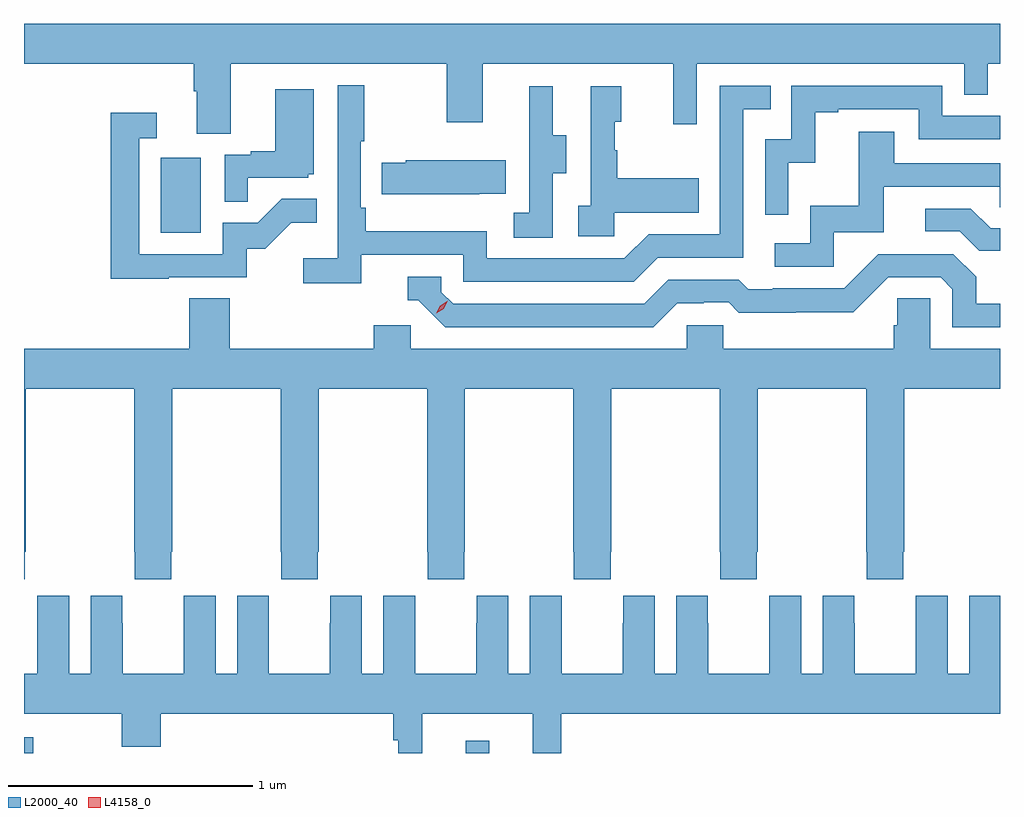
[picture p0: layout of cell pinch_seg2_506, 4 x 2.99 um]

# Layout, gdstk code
import gdstk
lib = gdstk.Library(unit=1e-6, precision=1e-09)
def R(c, l, rs):  # rectangles x0, y0, x1, y1
    for r in rs: c.add(gdstk.rectangle(r[:2], r[2:], *l))
def P(c, l, *ps):  # polygons
    for p in ps: c.add(gdstk.Polygon(p, *l))
L2000_40 = (2000, 40)
L4158_0 = (4158, 0)

pinch_seg2_506 = lib.new_cell('pinch_seg2_506')
R(pinch_seg2_506, L2000_40, [(993.707,592.864,993.745,592.929), (995.517,592.864,995.614,592.915), (994.268,594.996,994.432,595.303)])
P(pinch_seg2_506, L2000_40, [(994.555,595.688),(995.44,595.688),(995.44,595.449),(995.587,595.449),(995.587,595.688),(996.368,595.688),(996.368,595.44),(996.465,595.44),(996.465,595.688),(997.56,595.688),(997.56,595.561),(997.656,595.561),(997.656,595.688),(997.707,595.688),(997.707,595.852),(993.707,595.852),(993.707,595.688),(994.403,595.688),(994.403,595.576),(994.415,595.576),(994.415,595.402),(994.555,595.402)],
  [(995.09,594.906),(995.508,594.906),(995.508,594.795),(996.205,594.795),(996.304,594.894),(996.654,594.894),(996.654,595.503),(996.767,595.503),(996.767,595.599),(996.558,595.599),(996.558,594.99),(996.267,594.99),(996.168,594.891),(995.604,594.891),(995.604,595.003),(995.108,595.003),(995.108,595.099),(995.088,595.099),(995.088,595.372),(995.101,595.372),(995.101,595.6),(994.992,595.6),(994.992,594.892),(994.851,594.892),(994.851,594.79),(995.09,594.79)],
  [(996.84,595.283),(996.95,595.283),(996.95,595.491),(997.045,595.491),(997.045,595.503),(997.374,595.503),(997.374,595.38),(997.707,595.38),(997.707,595.476),(997.47,595.476),(997.47,595.599),(996.852,595.599),(996.852,595.38),(996.744,595.38),(996.744,595.071),(996.84,595.071)],
  [(995.874,595.24),(995.929,595.24),(995.929,595.395),(995.875,595.395),(995.875,595.597),(995.777,595.597),(995.777,595.383),(995.778,595.383),(995.778,595.079),(995.715,595.079),(995.715,594.976),(995.874,594.976)],
  [(996.126,595.079),(996.473,595.079),(996.473,595.219),(996.139,595.219),(996.139,595.334),(996.129,595.334),(996.129,595.452),(996.154,595.452),(996.154,595.597),(996.03,595.597),(996.03,595.106),(995.979,595.106),(995.979,594.981),(996.126,594.981)],
  [(994.625,595.221),(994.872,595.221),(994.872,595.236),(994.894,595.236),(994.894,595.585),(994.736,595.585),(994.736,595.33),(994.637,595.33),(994.637,595.317),(994.53,595.317),(994.53,595.123),(994.625,595.123)],
  [(994.301,594.813),(994.62,594.813),(994.62,594.93),(994.696,594.93),(994.803,595.037),(994.907,595.037),(994.907,595.136),(994.763,595.136),(994.665,595.038),(994.521,595.038),(994.521,594.909),(994.179,594.909),(994.179,595.383),(994.252,595.383),(994.252,595.489),(994.063,595.489),(994.063,594.808),(994.301,594.808)],
  [(997.026,594.999),(997.231,594.999),(997.231,595.185),(997.705,595.185),(997.705,595.101),(997.707,595.101),(997.707,595.281),(997.273,595.281),(997.273,595.411),(997.129,595.411),(997.129,595.108),(996.93,595.108),(996.93,594.954),(996.783,594.954),(996.783,594.858),(997.026,594.858)],
  [(995.573,595.157),(995.681,595.157),(995.681,595.294),(995.271,595.294),(995.271,595.284),(995.173,595.284),(995.173,595.154),(995.573,595.154)],
  [(997.707,595.014),(997.669,595.014),(997.588,595.095),(997.401,595.095),(997.401,595.002),(997.542,595.002),(997.622,594.922),(997.707,594.922)],
  [(996.385,594.708),(996.492,594.708),(996.492,594.711),(996.595,594.711),(996.637,594.669),(996.87,594.669),(996.87,594.671),(997.106,594.671),(997.248,594.813),(997.464,594.813),(997.512,594.765),(997.512,594.609),(997.707,594.609),(997.707,594.705),(997.609,594.705),(997.609,594.815),(997.515,594.909),(997.209,594.909),(997.068,594.768),(996.775,594.768),(996.775,594.765),(996.676,594.765),(996.637,594.804),(996.348,594.804),(996.249,594.705),(995.466,594.705),(995.418,594.753),(995.418,594.816),(995.279,594.816),(995.279,594.72),(995.322,594.72),(995.433,594.609),(996.286,594.609)],
  [(995.359,593.689),(995.361,593.689),(995.361,593.577),(995.511,593.577),(995.511,593.689),(995.514,593.689),(995.514,594.356),(995.959,594.356),(995.959,593.689),(995.961,593.689),(995.961,593.577),(996.111,593.577),(996.111,593.689),(996.114,593.689),(996.114,594.356),(996.559,594.356),(996.559,593.689),(996.561,593.689),(996.561,593.577),(996.711,593.577),(996.711,593.689),(996.714,593.689),(996.714,594.356),(997.159,594.356),(997.159,593.689),(997.161,593.689),(997.161,593.577),(997.311,593.577),(997.311,593.689),(997.314,593.689),(997.314,594.356),(997.707,594.356),(997.707,594.52),(997.422,594.52),(997.422,594.728),(997.285,594.728),(997.285,594.618),(997.271,594.618),(997.271,594.52),(996.573,594.52),(996.573,594.618),(996.423,594.618),(996.423,594.52),(995.292,594.52),(995.292,594.618),(995.141,594.618),(995.141,594.52),(994.55,594.52),(994.55,594.728),(994.385,594.728),(994.385,594.52),(993.707,594.52),(993.707,593.577),(993.711,593.577),(993.711,593.689),(993.714,593.689),(993.714,594.356),(994.159,594.356),(994.159,593.689),(994.161,593.689),(994.161,593.577),(994.311,593.577),(994.311,593.689),(994.314,593.689),(994.314,594.356),(994.759,594.356),(994.759,593.689),(994.761,593.689),(994.761,593.577),(994.911,593.577),(994.911,593.689),(994.914,593.689),(994.914,594.356),(995.359,594.356)],
  [(997.707,593.509),(997.58,593.509),(997.58,593.188),(997.492,593.188),(997.492,593.509),(997.362,593.509),(997.362,593.396),(997.361,593.396),(997.361,593.188),(997.111,593.188),(997.111,593.396),(997.11,593.396),(997.11,593.509),(996.98,593.509),(996.98,593.188),(996.892,593.188),(996.892,593.509),(996.762,593.509),(996.762,593.396),(996.761,593.396),(996.761,593.188),(996.511,593.188),(996.511,593.396),(996.51,593.396),(996.51,593.509),(996.38,593.509),(996.38,593.188),(996.292,593.188),(996.292,593.509),(996.162,593.509),(996.162,593.396),(996.161,593.396),(996.161,593.188),(995.911,593.188),(995.911,593.396),(995.91,593.396),(995.91,593.509),(995.78,593.509),(995.78,593.188),(995.692,593.188),(995.692,593.509),(995.562,593.509),(995.562,593.396),(995.561,593.396),(995.561,593.188),(995.311,593.188),(995.311,593.396),(995.31,593.396),(995.31,593.509),(995.18,593.509),(995.18,593.188),(995.092,593.188),(995.092,593.509),(994.962,593.509),(994.962,593.396),(994.961,593.396),(994.961,593.188),(994.711,593.188),(994.711,593.396),(994.71,593.396),(994.71,593.509),(994.58,593.509),(994.58,593.188),(994.492,593.188),(994.492,593.509),(994.362,593.509),(994.362,593.396),(994.361,593.396),(994.361,593.188),(994.111,593.188),(994.111,593.396),(994.11,593.396),(994.11,593.509),(993.98,593.509),(993.98,593.188),(993.892,593.188),(993.892,593.509),(993.762,593.509),(993.762,593.396),(993.761,593.396),(993.761,593.188),(993.707,593.188),(993.707,593.024),(994.108,593.024),(994.108,592.889),(994.268,592.889),(994.268,593.024),(995.221,593.024),(995.221,592.917),(995.24,592.917),(995.24,592.864),(995.339,592.864),(995.339,593.024),(995.792,593.024),(995.792,592.864),(995.909,592.864),(995.909,593.024),(997.707,593.024)])
P(pinch_seg2_506, L4158_0, [(995.396,594.666),(995.396,594.666),(995.413,594.698),(995.443,594.717),(995.444,594.717),(995.444,594.717),(995.427,594.685),(995.397,594.666)])

lib.write_gds('pinch_seg2_506.gds')
